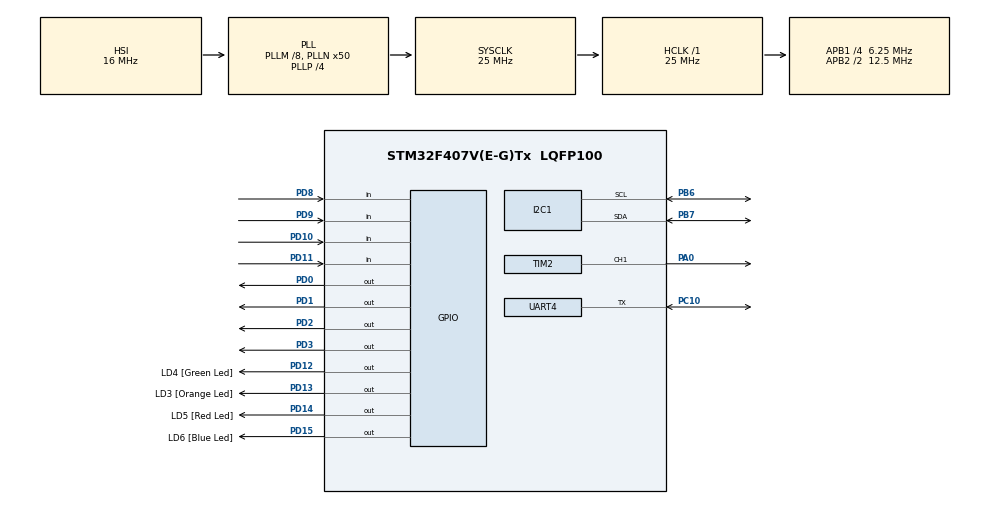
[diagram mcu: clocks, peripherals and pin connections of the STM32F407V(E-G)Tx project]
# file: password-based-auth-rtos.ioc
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FREERTOS.Tasks01=defaultTask,0,128,StartDefaultTask,Default,NULL,Dynamic,NULL,NULL
Mcu.Family=STM32F4
Mcu.Name=STM32F407V(E-G)Tx
Mcu.Package=LQFP100
NVIC.PriorityGroup=NVIC_PRIORITYGROUP_4
NVIC.TIM1_UP_TIM10_IRQn=true\:15\:0\:false\:false\:true\:false\:false\:true\:true
NVIC.TimeBase=TIM1_UP_TIM10_IRQn
NVIC.TimeBaseIP=TIM1
PA0-WKUP.Signal=S_TIM2_CH1_ETR
PB6.Mode=I2C
PB6.Signal=I2C1_SCL
PB7.Mode=I2C
PB7.Signal=I2C1_SDA
PC10.Mode=Half_duplex(single_wire_mode)
PC10.Signal=UART4_TX
PD0.Signal=GPIO_Output
PD1.Signal=GPIO_Output
PD10.GPIO_PuPd=GPIO_PULLUP
PD10.Signal=GPIO_Input
PD11.GPIO_PuPd=GPIO_PULLUP
PD11.Signal=GPIO_Input
PD12.GPIO_Label=LD4 [Green Led]
PD12.GPIO_PuPd=GPIO_NOPULL
PD12.GPIO_Speed=GPIO_SPEED_FREQ_LOW
PD12.Signal=GPIO_Output
PD13.GPIO_Label=LD3 [Orange Led]
PD13.GPIO_PuPd=GPIO_NOPULL
PD13.GPIO_Speed=GPIO_SPEED_FREQ_LOW
PD13.Signal=GPIO_Output
PD14.GPIO_Label=LD5 [Red Led]
PD14.GPIO_PuPd=GPIO_NOPULL
PD14.GPIO_Speed=GPIO_SPEED_FREQ_LOW
PD14.Signal=GPIO_Output
PD15.GPIO_Label=LD6 [Blue Led]
PD15.GPIO_PuPd=GPIO_NOPULL
PD15.GPIO_Speed=GPIO_SPEED_FREQ_LOW
PD15.Signal=GPIO_Output
PD2.Signal=GPIO_Output
PD3.Signal=GPIO_Output
PD8.GPIO_PuPd=GPIO_PULLUP
PD8.Signal=GPIO_Input
PD9.GPIO_PuPd=GPIO_PULLUP
PD9.Signal=GPIO_Input
ProjectManager.HeapSize=0x200
ProjectManager.StackSize=0x400
ProjectManager.TargetToolchain=STM32CubeIDE
RCC.48MHZClocksFreq_Value=14285714.285714285
RCC.AHBFreq_Value=25000000
RCC.APB1CLKDivider=RCC_HCLK_DIV4
RCC.APB1Freq_Value=6250000
RCC.APB1TimFreq_Value=12500000
RCC.APB2CLKDivider=RCC_HCLK_DIV2
RCC.APB2Freq_Value=12500000
RCC.APB2TimFreq_Value=25000000
RCC.CortexFreq_Value=25000000
RCC.HCLKFreq_Value=25000000
RCC.HSE_VALUE=8000000
RCC.HSI_VALUE=16000000
RCC.LSE_VALUE=32768
RCC.PLLM=8
RCC.PLLN=50
RCC.PLLP=RCC_PLLP_DIV4
RCC.PLLQ=7
RCC.SYSCLKFreq_VALUE=25000000
RCC.SYSCLKSource=RCC_SYSCLKSOURCE_PLLCLK
RCC.VCOOutputFreq_Value=100000000
SH.S_TIM2_CH1_ETR.0=TIM2_CH1,PWM Generation1 CH1
TIM2.Channel-PWM\ Generation1\ CH1=TIM_CHANNEL_1
TIM2.OCFastMode_PWM-PWM\ Generation1\ CH1=TIM_OCFAST_ENABLE
TIM2.Period=999
TIM2.Prescaler=499
UART4.VirtualMode=Asynchronous
VP_FREERTOS_VS_CMSIS_V1.Mode=CMSIS_V1
VP_SYS_VS_tim1.Mode=TIM1
VP_TIM2_VS_ClockSourceINT.Mode=Internal
board=STM32F407G-DISC1

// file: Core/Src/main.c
/* USER CODE BEGIN Header */
/**
 ******************************************************************************
 * @file           : main.c
 * @brief          : Main program body
 ******************************************************************************
 * @attention
 *
 * Copyright (c) 2025 STMicroelectronics.
 * All rights reserved.
 *
 * This software is licensed under terms that can be found in the LICENSE file
 * in the root directory of this software component.
 * If no LICENSE file comes with this software, it is provided AS-IS.
 *
 ******************************************************************************
 */
/* USER CODE END Header */
#include "main.h"

/* USER CODE BEGIN Includes */

#include <stdio.h>

/* USER CODE END Includes */

/* USER CODE BEGIN PM */

#include "keypad.h"
#include "liquidcrystal_i2c.h"
#include "global.h"
#include "userTasks.h"
#include "flash.h"

/* USER CODE END PM */

I2C_HandleTypeDef hi2c1;
TIM_HandleTypeDef htim2;
UART_HandleTypeDef huart4;

void SystemClock_Config(void);
static void MX_GPIO_Init(void);
static void MX_TIM2_Init(void);
static void MX_UART4_Init(void);
static void MX_I2C1_Init(void);

/* USER CODE BEGIN 0 */
uint32_t flashErasePasswordSector(void);
HAL_StatusTypeDef flashWritePassword(const char *password);
void flashReadPassword(char *outBuffer, uint32_t maxLen);

/* USER CODE END 0 */

int main(void) {

	/* MCU Configuration--------------------------------------------------------*/

	/* Reset of all peripherals, Initializes the Flash interface and the Systick. */
	HAL_Init();

	/* Configure the system clock */
	SystemClock_Config();

	/* Initialize all configured peripherals */
	MX_GPIO_Init();
	MX_TIM2_Init();
	MX_UART4_Init();
	MX_I2C1_Init();
	/* USER CODE BEGIN 2 */
	flashErasePasswordSector();
	flashWritePassword(flashPassBuffer);
	HD44780_Init(2);
	HD44780_Clear();
	HD44780_Display();
	HD44780_SetCursor(0, 0);
	HD44780_PrintStr("Enter Password:");

	/* USER CODE END 2 */

	/* USER CODE BEGIN RTOS_QUEUES */
	/* add queues, ... */
	sendDisplayQueue = xQueueCreate(1, sizeof(keypadInput_t));
	sendValidatorQueue = xQueueCreate(1, sizeof(char));
	validatorQueue = xQueueCreate(1, sizeof(passwordValid_t));
	sendUpdationQueue = xQueueCreate(1, sizeof(char));
	updatorQueue = xQueueCreate(1, sizeof(passwordUpdation_t));
	xQueueSet = xQueueCreateSet(1 * 3);
	/* Add the two queues to the set. */
	xQueueAddToSet(sendDisplayQueue, xQueueSet);
	xQueueAddToSet(validatorQueue, xQueueSet);
	xQueueAddToSet(updatorQueue, xQueueSet);
	/* USER CODE END RTOS_QUEUES */

	/* Create the thread(s) */
	/* definition and creation of defaultTask */

	/* USER CODE BEGIN RTOS_THREADS */
	/* add threads, ... */
	xTaskCreate(inputTask, "Input", 256,
	NULL, 1,
	NULL);
	xTaskCreate(displayTask, "Display", 256,
	NULL, 2,
	NULL);
	xTaskCreate(validationTask, "PasswordValidation", 256,
	NULL, 2,
	NULL);
	xTaskCreate(updationTask, "PasswordUpdation", 256,
	NULL, 3,
	NULL);
	/* USER CODE END RTOS_THREADS */

	/* Start scheduler */
	vTaskStartScheduler();

	/* We should never get here as control is now taken by the scheduler */

	/* Infinite loop */
	while (1) {

	}
}

void SystemClock_Config(void) {
	RCC_OscInitTypeDef RCC_OscInitStruct = { 0 };
	RCC_ClkInitTypeDef RCC_ClkInitStruct = { 0 };

	/** Configure the main internal regulator output voltage
	 */
	__HAL_RCC_PWR_CLK_ENABLE();
	__HAL_PWR_VOLTAGESCALING_CONFIG(PWR_REGULATOR_VOLTAGE_SCALE1);

	/** Initializes the RCC Oscillators according to the specified parameters
	 * in the RCC_OscInitTypeDef structure.
	 */
	RCC_OscInitStruct.OscillatorType = RCC_OSCILLATORTYPE_HSI;
	RCC_OscInitStruct.HSIState = RCC_HSI_ON;
	RCC_OscInitStruct.HSICalibrationValue = RCC_HSICALIBRATION_DEFAULT;
	RCC_OscInitStruct.PLL.PLLState = RCC_PLL_ON;
	RCC_OscInitStruct.PLL.PLLSource = RCC_PLLSOURCE_HSI;
	RCC_OscInitStruct.PLL.PLLM = 8;
	RCC_OscInitStruct.PLL.PLLN = 50;
	RCC_OscInitStruct.PLL.PLLP = RCC_PLLP_DIV4;
	RCC_OscInitStruct.PLL.PLLQ = 7;
	if (HAL_RCC_OscConfig(&RCC_OscInitStruct) != HAL_OK) {
		Error_Handler();
	}

	/** Initializes the CPU, AHB and APB buses clocks
	 */
	RCC_ClkInitStruct.ClockType = RCC_CLOCKTYPE_HCLK | RCC_CLOCKTYPE_SYSCLK
			| RCC_CLOCKTYPE_PCLK1 | RCC_CLOCKTYPE_PCLK2;
	RCC_ClkInitStruct.SYSCLKSource = RCC_SYSCLKSOURCE_PLLCLK;
	RCC_ClkInitStruct.AHBCLKDivider = RCC_SYSCLK_DIV1;
	RCC_ClkInitStruct.APB1CLKDivider = RCC_HCLK_DIV4;
	RCC_ClkInitStruct.APB2CLKDivider = RCC_HCLK_DIV2;

	if (HAL_RCC_ClockConfig(&RCC_ClkInitStruct, FLASH_LATENCY_0) != HAL_OK) {
		Error_Handler();
	}
}

static void MX_I2C1_Init(void) {

	hi2c1.Instance = I2C1;
	hi2c1.Init.ClockSpeed = 100000;
	hi2c1.Init.DutyCycle = I2C_DUTYCYCLE_2;
	hi2c1.Init.OwnAddress1 = 0;
	hi2c1.Init.AddressingMode = I2C_ADDRESSINGMODE_7BIT;
	hi2c1.Init.DualAddressMode = I2C_DUALADDRESS_DISABLE;
	hi2c1.Init.OwnAddress2 = 0;
	hi2c1.Init.GeneralCallMode = I2C_GENERALCALL_DISABLE;
	hi2c1.Init.NoStretchMode = I2C_NOSTRETCH_DISABLE;
	if (HAL_I2C_Init(&hi2c1) != HAL_OK) {
		Error_Handler();
	}

}

static void MX_TIM2_Init(void) {

	TIM_ClockConfigTypeDef sClockSourceConfig = { 0 };
	TIM_MasterConfigTypeDef sMasterConfig = { 0 };
	TIM_OC_InitTypeDef sConfigOC = { 0 };

	htim2.Instance = TIM2;
	htim2.Init.Prescaler = 499;
	htim2.Init.CounterMode = TIM_COUNTERMODE_UP;
	htim2.Init.Period = 4294967295;
	htim2.Init.ClockDivision = TIM_CLOCKDIVISION_DIV1;
	htim2.Init.AutoReloadPreload = TIM_AUTORELOAD_PRELOAD_DISABLE;
	if (HAL_TIM_Base_Init(&htim2) != HAL_OK) {
		Error_Handler();
	}
	sClockSourceConfig.ClockSource = TIM_CLOCKSOURCE_INTERNAL;
	if (HAL_TIM_ConfigClockSource(&htim2, &sClockSourceConfig) != HAL_OK) {
		Error_Handler();
	}
	if (HAL_TIM_PWM_Init(&htim2) != HAL_OK) {
		Error_Handler();
	}
	sMasterConfig.MasterOutputTrigger = TIM_TRGO_RESET;
	sMasterConfig.MasterSlaveMode = TIM_MASTERSLAVEMODE_DISABLE;
	if (HAL_TIMEx_MasterConfigSynchronization(&htim2, &sMasterConfig)
			!= HAL_OK) {
		Error_Handler();
	}
	sConfigOC.OCMode = TIM_OCMODE_PWM1;
	sConfigOC.Pulse = 0;
	sConfigOC.OCPolarity = TIM_OCPOLARITY_HIGH;
	sConfigOC.OCFastMode = TIM_OCFAST_DISABLE;
	if (HAL_TIM_PWM_ConfigChannel(&htim2, &sConfigOC, TIM_CHANNEL_1)
			!= HAL_OK) {
		Error_Handler();
	}
	HAL_TIM_MspPostInit(&htim2);

}

static void MX_UART4_Init(void) {

	huart4.Instance = UART4;
	huart4.Init.BaudRate = 115200;
	huart4.Init.WordLength = UART_WORDLENGTH_8B;
	huart4.Init.StopBits = UART_STOPBITS_1;
	huart4.Init.Parity = UART_PARITY_NONE;
	huart4.Init.Mode = UART_MODE_TX_RX;
	huart4.Init.HwFlowCtl = UART_HWCONTROL_NONE;
	huart4.Init.OverSampling = UART_OVERSAMPLING_16;
	if (HAL_HalfDuplex_Init(&huart4) != HAL_OK) {
		Error_Handler();
	}

}

static void MX_GPIO_Init(void) {
	GPIO_InitTypeDef GPIO_InitStruct = { 0 };

	/* GPIO Ports Clock Enable */
	__HAL_RCC_GPIOA_CLK_ENABLE();
	__HAL_RCC_GPIOD_CLK_ENABLE();
	__HAL_RCC_GPIOC_CLK_ENABLE();
	__HAL_RCC_GPIOB_CLK_ENABLE();

	/*Configure GPIO pin Output Level */
	HAL_GPIO_WritePin(GPIOD,
			LD4_Pin | LD3_Pin | LD5_Pin | LD6_Pin | GPIO_PIN_0 | GPIO_PIN_1
					| GPIO_PIN_2 | GPIO_PIN_3, GPIO_PIN_RESET);

	/*Configure GPIO pins : PD8 PD9 PD10 PD11 */
	GPIO_InitStruct.Pin = GPIO_PIN_8 | GPIO_PIN_9 | GPIO_PIN_10 | GPIO_PIN_11;
	GPIO_InitStruct.Mode = GPIO_MODE_INPUT;
	GPIO_InitStruct.Pull = GPIO_PULLUP;
	HAL_GPIO_Init(GPIOD, &GPIO_InitStruct);

	/*Configure GPIO pins : LD4_Pin LD3_Pin LD5_Pin LD6_Pin
	 PD0 PD1 PD2 PD3 */
	GPIO_InitStruct.Pin = LD4_Pin | LD3_Pin | LD5_Pin | LD6_Pin | GPIO_PIN_0
			| GPIO_PIN_1 | GPIO_PIN_2 | GPIO_PIN_3;
	GPIO_InitStruct.Mode = GPIO_MODE_OUTPUT_PP;
	GPIO_InitStruct.Pull = GPIO_NOPULL;
	GPIO_InitStruct.Speed = GPIO_SPEED_FREQ_LOW;
	HAL_GPIO_Init(GPIOD, &GPIO_InitStruct);

}

void HAL_TIM_PeriodElapsedCallback(TIM_HandleTypeDef *htim) {
	if (htim->Instance == TIM1) {
		HAL_IncTick();
	}
}

void Error_Handler(void) {
	__disable_irq();
	while (1) {
	}
}
